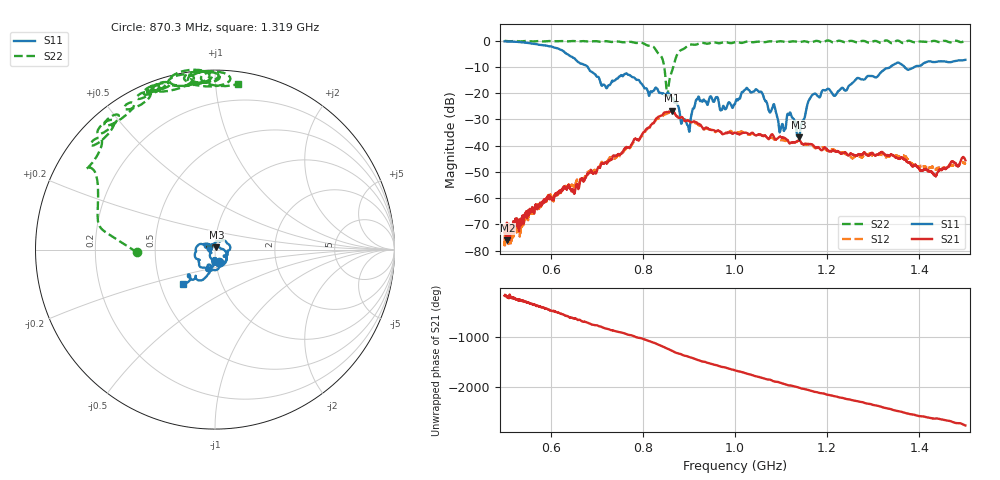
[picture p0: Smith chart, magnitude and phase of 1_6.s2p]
!Agilent Technologies,E8364B,US42250235,A.06.04.32
!Agilent E8364B: A.06.04.32
!Date: Thursday, October 01, 2020 16:07:38
!Correction: S11(Full 2 Port(1,2)) S21(Full 2 Port(1,2)) S12(Full 2 Port(1,2)) S22(Full 2 Port(1,2))
!S2P File: Measurements: S11, S21, S12, S22:
# Hz S  dB  R 50
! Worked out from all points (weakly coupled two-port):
!   2650 points, 500 MHz to 1.5 GHz, reference 50 ohm
!   highest |S21| = -26.74 dB at 862.8 MHz (marker M1); lowest = -76.2 dB at 506 MHz (marker M2)
!   lowest |S11| = -36.8 dB at 1.139 GHz (marker M3), VSWR 1.03, Z = 50.7 + j1.25 ohm
!   |S11| at or under -10 dB: 680.5 MHz to 1.337 GHz (656.7 MHz wide, 65.1 % of centre); 1.368 GHz to 1.39 GHz (21.71 MHz wide, 1.57 % of centre)
!   |S22| runs from -21.1 to 0.1 dB; largest |S21 - S12| = 0.016
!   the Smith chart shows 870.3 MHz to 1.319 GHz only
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5e8  -0.24 -175.1  -70.47 -162.5  -78.33 -173.2  -0.06 143.1
5.0604e8  -0.27 -178.3  -76.16 159.2  -72.04 173.3  -0.16 144.1
6.019253e8  -2.23 118.8  -59.90 -106.7  -59.22 -134.9  -0.18 130.0
6.668554e8  -8.79 74.3  -52.43 47.5  -52.19 36.6  -0.17 124.3
7.19328e8  -17.66 70.7  -46.51 -103.8  -46.11 -117.1  -0.17 113.6
7.955832e8  -16.13 22.7  -36.56 62.1  -36.83 36.2  -0.75 97.3
8.337108e8  -19.28 -3.4  -28.99 -70.5  -29.60 -94.0  -4.87 53.6
8.529634e8  -19.98 -21.9  -27.26 -149.6  -27.75 -168.3  -21.13 -42.0
8.627784e8  -21.94 -53.2  -26.74 169.0  -27.07 150.5  -11.85 -143.2
8.982635e8  -32.62 92.4  -30.41 47.8  -30.33 31.2  -1.82 146.7
9.186485e8  -22.08 24.8  -31.50 -17.9  -31.81 -31.7  -1.30 137.1
1.000189e9  -24.04 -88.1  -35.06 130.9  -35.08 128.9  -0.53 119.4
1.051529e9  -19.45 -173.8  -35.69 -1.9  -35.88 -0.5  -0.36 113.2
1.097961e9  -34.52 163.4  -36.67 -118.5  -37.86 -111.4  -0.20 111.2
1.117969e9  -27.91 162.7  -39.13 -173.6  -38.81 -160.5  -0.41 107.0
1.139109e9  -36.83 59.0  -38.00 140.7  -38.51 153.6  -0.53 108.1
1.166667e9  -20.87 -47.4  -39.55 73.6  -39.94 86.7  -0.63 99.7
1.321442e9  -11.40 -134.7  -42.68 100.2  -43.84 124.1  -0.35 81.0
1.333522e9  -10.38 -144.2  -43.77 77.3  -44.23 104.6  -0.24 96.9
1.37165e9  -10.68 180.0  -45.93 -16.0  -44.58 5.4  -0.34 73.5
1.433182e9  -8.16 164.7  -51.17 -124.6  -48.66 -96.6  -0.06 77.4
1.5e9  -7.28 141.8  -45.63 96.9  -47.05 135.7  -0.00 71.3
